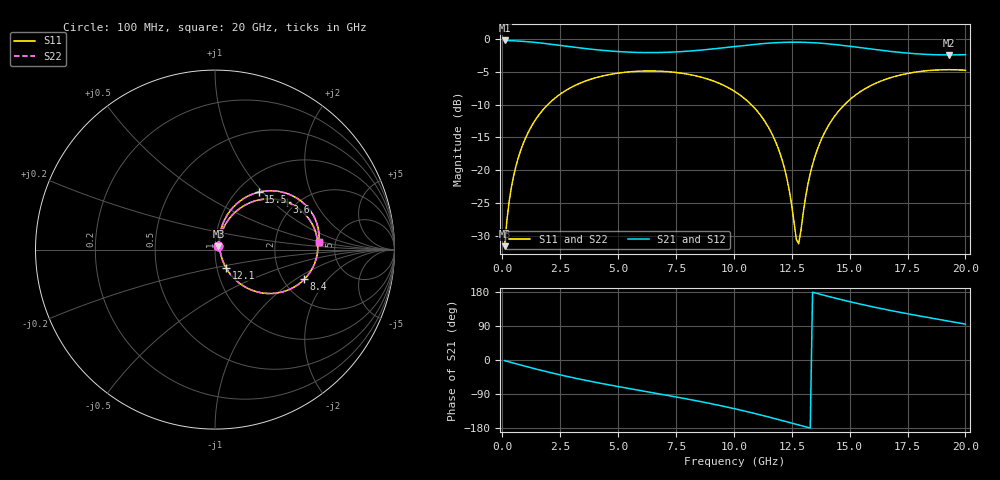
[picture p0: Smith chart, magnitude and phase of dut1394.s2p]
! Touchstone file exported from HFSS 2026.1.0
!  File:  C:/ffzhzh/LocalFiles/Ansys_Project_Files/temp_train_TSV_RDL_1394_1783350172_50076.aedt
!  Generated:  11:15:31 PM Jul  6, 2026
!  Design:  TSV_RDL
!  Project:  temp_train_TSV_RDL_1394_1783350172_50076
! Variables:
!  h_bsmrdl = 5.97um
!  h_ox = 20um
!  h_rdl = 5um
!  h_sub = 79.95um
!  h_tmrdl = 5.84um
!  h_tsv = 79.95um
!  h_via = 3um
!  l_bsmrdl = 253.26um
!  l_sub = 4418.91um
!  l_tmrdl = 785.84um
!  m_sub = 200um
!  pitch = 50.24um
!  r_tsv = 10.25um
!  s_tmrdl = 10um
!  w_bsmrdl = 26.58um
!  w_sub = 500um
!  w_tmrdl = 12.01um
!  x_tsv_center1 = 791.845um
!  x_tsv_center2 = 1071.685um
!  x_tsv_center3 = 1869.535um
!  x_tsv_center4 = 2149.375um
!  x_tsv_center5 = 2947.225um
!  x_tsv_center6 = 3227.065um
# GHz S MA R 50.000000
! Terminal data exported
! Port[1] = TM_RDL1_1_T1
! Port[2] = TM_RDL5_1_T1
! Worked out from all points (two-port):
!   200 points, 100 MHz to 20 GHz, reference 50 ohm
!   highest |S21| = -0.16 dB at 100 MHz (marker M1); lowest = -2.4 dB at 19.3 GHz (marker M2)
!   |S21| within 3 dB of the highest: start of sweep to end of sweep
!   lowest |S11| = -31.6 dB at 100 MHz (marker M3), VSWR 1.05, Z = 51.9 + j1.87 ohm
!   |S11| at or under -10 dB: start of sweep to 1.958 GHz; 10.76 GHz to 14.77 GHz (4.013 GHz wide, 31.4 % of centre)
!   |S22| runs from -31.6 to -4.6 dB; largest |S21 - S12| = 1.6e-14
!   S11 on the Smith chart (normalised r, x): 100 MHz: 1.04, +0.04; 3.6 GHz: 1.80, +1.24; 8.4 GHz: 2.59, -1.18; 12.1 GHz: 1.11, -0.22; 15.5 GHz: 1.24, +0.95; 20 GHz: 3.70, +0.49
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0.1  0.02625 43.4  0.9813 -1.7  0.9813 -1.7  0.02625 43.4
! Gamma 0 0 0 0
! Port Impedance 50 0 50 0
0.3  0.05824 65.3  0.9789 -5.1  0.9789 -5.1  0.05824 65.3
0.5  0.09225 68.7  0.9755 -8.4  0.9755 -8.4  0.09225 68.7
1.1  0.1915 65.2  0.9597 -18.2  0.9597 -18.2  0.1915 65.2
2.1  0.3345 52.3  0.9183 -33.5  0.9183 -33.5  0.3345 52.3
3.5  0.4736 34.5  0.8545 -52.4  0.8545 -52.4  0.4736 34.5
3.6  0.4809 33.3  0.8505 -53.7  0.8505 -53.7  0.4809 33.3
6.8  0.5714 -1.3  0.7939 -89.7  0.7939 -89.7  0.5714 -1.3
8.4  0.5242 -18.4  0.8229 -107.8  0.8229 -107.8  0.5242 -18.4
10.1  0.3935 -38.5  0.885 -129.5  0.885 -129.5  0.3935 -38.5
11.3  0.2417 -53.2  0.93 -147.2  0.93 -147.2  0.2417 -53.2
12.1  0.1173 -58.7  0.9486 -160.0  0.9486 -160.0  0.1173 -58.7
12.4  0.06911 -53.8  0.9517 -164.9  0.9517 -164.9  0.06911 -53.8
12.7  0.02959 -16.0  0.9523 -169.8  0.9523 -169.8  0.02961 -16.0
12.8  0.02739 17.3  0.952 -171.4  0.952 -171.4  0.02742 17.3
13.1  0.06257 66.6  0.9492 -176.4  0.9492 -176.4  0.0626 66.5
13.4  0.1106 73.2  0.944 178.7  0.944 178.7  0.1106 73.2
14.2  0.2364 68.4  0.92 166.0  0.92 166.0  0.2364 68.4
15.5  0.4025 52.7  0.8631 147.0  0.8631 147.0  0.4025 52.6
16.7  0.5051 38.6  0.8118 131.5  0.8118 131.5  0.5051 38.5
19.3  0.5868 11.4  0.7605 102.3  0.7605 102.3  0.5868 11.3
20  0.5808 4.3  0.7646 94.7  0.7646 94.7  0.5808 4.2
